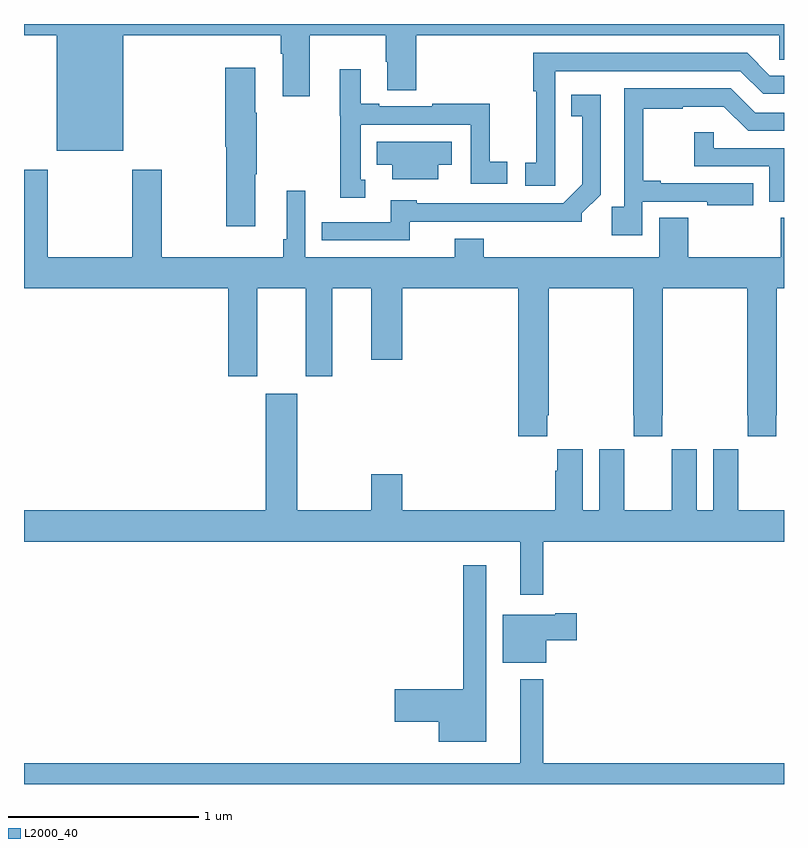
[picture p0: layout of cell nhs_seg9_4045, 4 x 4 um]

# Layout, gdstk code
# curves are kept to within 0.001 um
import gdstk
lib = gdstk.Library(unit=1e-6, precision=1e-09)
def P(c, l, *ps):  # polygons
    for p in ps: c.add(gdstk.Polygon(p, *l))
L2000_40 = (2000, 40)

nhs_seg9_4045 = lib.new_cell('nhs_seg9_4045')
P(nhs_seg9_4045, L2000_40, [(343,1176.44),(343.172,1176.44),(343.172,1175.834),(343.522,1175.834),(343.522,1176.44),(344.351,1176.44),(344.351,1176.344),(344.363,1176.344),(344.363,1176.12),(344.503,1176.12),(344.503,1176.44),(344.905,1176.44),(344.905,1176.302),(344.912,1176.302),(344.912,1176.151),(345.065,1176.151),(345.065,1176.44),(346.974,1176.44),(346.974,1176.313),(347,1176.313),(347,1176.5),(343,1176.5)],
  [(345.796,1175.924),(345.795,1176.252),(346.77,1176.252),(346.89,1176.132),(347,1176.132),(347,1176.228),(346.926,1176.228),(346.806,1176.348),(345.679,1176.348),(345.679,1176.145),(345.697,1176.145),(345.697,1175.769),(345.639,1175.769),(345.639,1175.649),(345.796,1175.649)],
  [(344.218,1175.71),(344.226,1175.71),(344.226,1176.032),(344.218,1176.032),(344.218,1176.271),(344.06,1176.271),(344.06,1175.853),(344.065,1175.853),(344.065,1175.436),(344.218,1175.436)],
  [(344.797,1175.679),(344.772,1175.679),(344.772,1175.97),(345.351,1175.97),(345.351,1175.658),(345.544,1175.658),(345.544,1175.774),(345.45,1175.774),(345.45,1176.079),(345.148,1176.079),(345.148,1176.066),(344.869,1176.066),(344.869,1176.079),(344.773,1176.079),(344.773,1176.262),(344.663,1176.262),(344.663,1176.017),(344.664,1176.017),(344.664,1175.585),(344.797,1175.585)],
  [(346.254,1175.565),(346.595,1175.565),(346.595,1175.546),(346.838,1175.546),(346.838,1175.661),(346.351,1175.661),(346.351,1175.674),(346.259,1175.674),(346.259,1176.054),(346.466,1176.054),(346.466,1176.065),(346.684,1176.065),(346.812,1175.937),(347,1175.937),(347,1176.033),(346.848,1176.033),(346.719,1176.162),(346.158,1176.162),(346.158,1175.539),(346.093,1175.539),(346.093,1175.388),(346.254,1175.388)],
  [(345.03,1175.46),(345.936,1175.459),(345.936,1175.503),(346.035,1175.602),(346.035,1176.127),(345.88,1176.127),(345.88,1176.014),(345.938,1176.014),(345.938,1175.657),(345.837,1175.556),(345.066,1175.556),(345.066,1175.572),(344.93,1175.572),(344.93,1175.457),(344.566,1175.457),(344.566,1175.361),(345.03,1175.361)],
  [(347,1175.847),(346.629,1175.847),(346.629,1175.929),(346.528,1175.929),(346.528,1175.751),(346.923,1175.751),(346.923,1175.565),(347,1175.565)],
  [(345.181,1175.759),(345.25,1175.759),(345.25,1175.881),(344.857,1175.881),(344.857,1175.759),(344.939,1175.759),(344.939,1175.684),(345.181,1175.684)],
  [(345.755,1174.441),(345.762,1174.441),(345.762,1175.108),(346.207,1175.108),(346.207,1174.441),(346.209,1174.441),(346.209,1174.329),(346.359,1174.329),(346.359,1174.441),(346.362,1174.441),(346.362,1175.108),(346.807,1175.108),(346.807,1174.441),(346.809,1174.441),(346.809,1174.329),(346.959,1174.329),(346.959,1174.441),(346.962,1174.441),(346.962,1175.108),(347,1175.108),(347,1175.48),(346.982,1175.48),(346.982,1175.272),(346.496,1175.272),(346.496,1175.48),(346.343,1175.48),(346.343,1175.272),(345.419,1175.272),(345.419,1175.371),(345.266,1175.371),(345.266,1175.272),(344.481,1175.272),(344.481,1175.623),(344.384,1175.623),(344.384,1175.368),(344.365,1175.368),(344.365,1175.272),(343.725,1175.272),(343.725,1175.734),(343.57,1175.734),(343.57,1175.272),(343.125,1175.272),(343.125,1175.734),(343,1175.734),(343,1175.108),(344.075,1175.108),(344.075,1174.647),(344.227,1174.647),(344.227,1175.108),(344.483,1175.108),(344.483,1174.647),(344.623,1174.647),(344.623,1175.108),(344.828,1175.108),(344.828,1174.734),(344.992,1174.734),(344.992,1175.108),(345.602,1175.108),(345.602,1174.329),(345.755,1174.329)],
  [(345.733,1173.776),(347,1173.776),(347,1173.94),(346.759,1173.94),(346.759,1174.148),(346.758,1174.148),(346.758,1174.261),(346.628,1174.261),(346.628,1173.94),(346.54,1173.94),(346.54,1174.261),(346.41,1174.261),(346.41,1174.148),(346.409,1174.148),(346.409,1173.94),(346.159,1173.94),(346.159,1174.148),(346.158,1174.148),(346.158,1174.261),(346.028,1174.261),(346.028,1173.94),(345.94,1173.94),(345.94,1174.261),(345.806,1174.261),(345.806,1174.148),(345.797,1174.148),(345.797,1173.94),(344.992,1173.94),(344.992,1174.129),(344.828,1174.129),(344.828,1173.94),(344.437,1173.94),(344.437,1174.555),(344.273,1174.555),(344.273,1173.94),(343,1173.94),(343,1173.776),(345.611,1173.776),(345.611,1173.495),(345.733,1173.495)],
  [(345.433,1173.652),(345.312,1173.652),(345.312,1172.999),(344.952,1172.999),(344.952,1172.828),(345.182,1172.828),(345.182,1172.723),(345.433,1172.723)],
  [(345.748,1173.257),(345.91,1173.257),(345.91,1173.399),(345.797,1173.399),(345.797,1173.391),(345.521,1173.391),(345.521,1173.137),(345.748,1173.137)],
  [(347,1172.608),(345.733,1172.608),(345.733,1173.052),(345.611,1173.052),(345.611,1172.608),(343,1172.608),(343,1172.5),(347,1172.5)])

lib.write_gds('nhs_seg9_4045.gds')
